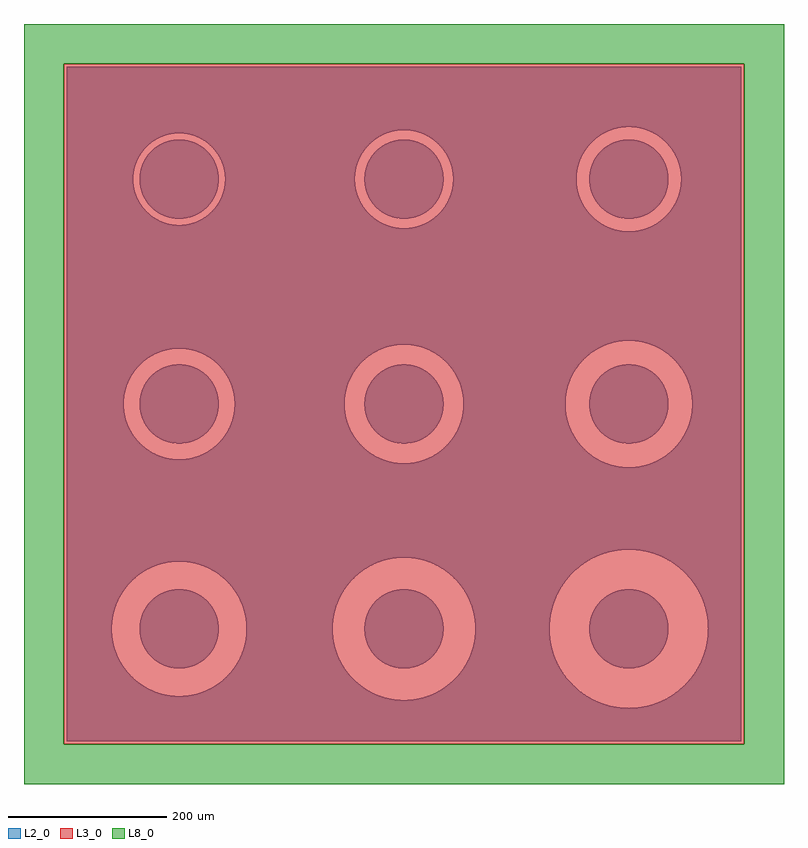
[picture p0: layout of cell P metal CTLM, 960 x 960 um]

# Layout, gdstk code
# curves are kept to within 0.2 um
import gdstk
lib = gdstk.Library(unit=1e-6, precision=1e-09)
def R(c, l, rs):  # rectangles x0, y0, x1, y1
    for r in rs: c.add(gdstk.rectangle(r[:2], r[2:], *l))
def P(c, l, *ps):  # polygons
    for p in ps: c.add(gdstk.Polygon(p, *l))
L2_0 = (2, 0)
L3_0 = (3, 0)
L8_0 = (8, 0)

frame = lib.new_cell('Frame')
P(frame, L2_0, [(0,0),(-84,-84),(-84,200),(200,200),(200,-84),(-84,-84),(0,0),(116,0),(116,116),(0,116)])

ctlm1 = lib.new_cell('CTLM1')
P(ctlm1, L2_0, [(0,50),(4.929,49.756),(9.81,49.028),(14.595,47.823),(18.823,46.322),(23.297,44.241),(27.545,41.729),(31.524,38.81),(35.196,35.514),(38.526,31.871),(41.48,27.918),(44.03,23.693),(46.151,19.238),(47.823,14.595),(49.028,9.81),(49.756,4.929),(50,0),(49.756,-4.929),(49.028,-9.81),(47.823,-14.595),(46.322,-18.823),(44.241,-23.297),(41.729,-27.545),(38.81,-31.524),(35.514,-35.196),(31.871,-38.526),(27.918,-41.48),(23.693,-44.03),(19.238,-46.151),(14.595,-47.823),(9.81,-49.028),(4.929,-49.756),(0,-50),(-4.929,-49.756),(-9.81,-49.028),(-14.595,-47.823),(-18.823,-46.322),(-23.297,-44.241),(-27.545,-41.729),(-31.524,-38.81),(-35.196,-35.514),(-38.526,-31.871),(-41.48,-27.918),(-44.03,-23.693),(-46.151,-19.238),(-47.823,-14.595),(-49.028,-9.81),(-49.756,-4.929),(-50,0),(-49.756,4.929),(-49.028,9.81),(-47.823,14.595),(-46.322,18.823),(-44.241,23.297),(-41.729,27.545),(-38.81,31.524),(-35.514,35.196),(-31.871,38.526),(-27.918,41.48),(-23.693,44.03),(-19.238,46.151),(-14.595,47.823),(-9.81,49.028),(-4.929,49.756)],
  [(0,-142),(14.018,-141.306),(27.898,-139.232),(41.507,-135.798),(54.709,-131.038),(67.378,-124.997),(79.388,-117.735),(90.622,-109.323),(100.972,-99.843),(110.335,-89.388),(118.62,-78.06),(125.746,-65.969),(131.644,-53.234),(136.256,-39.978),(139.295,-27.585),(141.338,-13.7),(142,0.319),(141.275,14.335),(139.417,26.959),(136.075,40.59),(131.404,53.825),(125.448,66.533),(118.268,78.592),(109.932,89.883),(100.522,100.296),(90.13,109.73),(78.858,118.091),(66.815,125.299),(55.298,130.791),(42.117,135.61),(28.524,139.106),(14.653,141.242),(0.638,141.999),(-13.382,141.368),(-27.272,139.356),(-40.896,135.984),(-54.12,131.282),(-66.815,125.299),(-78.858,118.091),(-90.13,109.73),(-99.616,101.196),(-109.119,90.868),(-117.557,79.652),(-124.845,67.658),(-130.914,55.004),(-135.705,41.812),(-139.169,28.211),(-141.275,14.335),(-142,0.319),(-141.338,-13.7),(-139.295,-27.585),(-136.256,-39.978),(-131.644,-53.234),(-125.746,-65.969),(-118.62,-78.06),(-110.335,-89.388),(-100.972,-99.843),(-90.622,-109.323),(-79.388,-117.735),(-67.378,-124.997),(-54.709,-131.038),(-41.507,-135.798),(-27.898,-139.232),(-14.018,-141.306),(0,-142),(0,-58),(-6.244,-57.663),(-12.924,-56.542),(-18.936,-54.822),(-25.199,-52.24),(-31.118,-48.946),(-36.206,-45.311),(-40.874,-41.15),(-45.393,-36.104),(-49.016,-31.007),(-52.297,-25.081),(-54.693,-19.306),(-56.571,-12.797),(-57.62,-6.633),(-57.999,-0.391),(-57.649,6.374),(-56.628,12.543),(-54.427,20.041),(-51.239,27.176),(-47.121,33.817),(-42.148,39.844),(-36.409,45.148),(-30.01,49.633),(-23.543,53.007),(-16.204,55.69),(-8.571,57.363),(-0.782,57.995),(6.503,57.634),(14.192,56.237),(21.622,53.819),(28.661,50.424),(35.179,46.113),(41.058,40.966),(45.875,35.489),(49.967,29.45),(53.268,22.946),(55.727,16.079),(57.304,8.957),(57.975,1.694),(57.729,-5.596),(56.571,-12.797),(55.193,-17.824),(53.573,-22.226),(51.361,-26.945),(49.016,-31.007),(46.35,-34.867),(43.033,-38.887),(36.206,-45.311),(31.992,-48.379),(27.978,-50.806),(23.305,-53.112),(18.936,-54.822),(9.858,-57.156),(5.206,-57.766),(0,-58)])
ctlm1.add(gdstk.Reference(frame, (-58,-58)))

frame_2956 = lib.new_cell('Frame_2956')
P(frame_2956, L2_0, [(0,0),(-80,-80),(-80,204),(204,204),(204,-80),(-80,-80),(0,0),(124,0),(124,124),(0,124)])

ctlm2 = lib.new_cell('CTLM2')
P(ctlm2, L2_0, [(0,50),(4.929,49.756),(9.81,49.028),(14.595,47.823),(18.823,46.322),(23.297,44.241),(27.545,41.729),(31.524,38.81),(35.196,35.514),(38.526,31.871),(41.48,27.918),(44.03,23.693),(46.151,19.238),(47.823,14.595),(49.028,9.81),(49.756,4.929),(50,0),(49.756,-4.929),(49.028,-9.81),(47.823,-14.595),(46.322,-18.823),(44.241,-23.297),(41.729,-27.545),(38.81,-31.524),(35.514,-35.196),(31.871,-38.526),(27.918,-41.48),(23.693,-44.03),(19.238,-46.151),(14.595,-47.823),(9.81,-49.028),(4.929,-49.756),(0,-50),(-4.929,-49.756),(-9.81,-49.028),(-14.595,-47.823),(-18.823,-46.322),(-23.297,-44.241),(-27.545,-41.729),(-31.524,-38.81),(-35.196,-35.514),(-38.526,-31.871),(-41.48,-27.918),(-44.03,-23.693),(-46.151,-19.238),(-47.823,-14.595),(-49.028,-9.81),(-49.756,-4.929),(-50,0),(-49.756,4.929),(-49.028,9.81),(-47.823,14.595),(-46.322,18.823),(-44.241,23.297),(-41.729,27.545),(-38.81,31.524),(-35.514,35.196),(-31.871,38.526),(-27.918,41.48),(-23.693,44.03),(-19.238,46.151),(-14.595,47.823),(-9.81,49.028),(-4.929,49.756)],
  [(0,-142),(14.018,-141.306),(27.898,-139.232),(41.507,-135.798),(54.709,-131.038),(67.378,-124.997),(79.388,-117.735),(90.622,-109.323),(100.972,-99.843),(110.335,-89.388),(118.62,-78.06),(125.746,-65.969),(131.644,-53.234),(136.256,-39.978),(139.295,-27.585),(141.338,-13.7),(142,0.319),(141.275,14.335),(139.417,26.959),(136.075,40.59),(131.404,53.825),(125.448,66.533),(118.268,78.592),(109.932,89.883),(100.522,100.296),(90.13,109.73),(78.858,118.091),(66.815,125.299),(55.298,130.791),(42.117,135.61),(28.524,139.106),(14.653,141.242),(0.638,141.999),(-13.382,141.368),(-27.272,139.356),(-40.896,135.984),(-54.12,131.282),(-66.815,125.299),(-78.858,118.091),(-90.13,109.73),(-99.616,101.196),(-109.119,90.868),(-117.557,79.652),(-124.845,67.658),(-130.914,55.004),(-135.705,41.812),(-139.169,28.211),(-141.275,14.335),(-142,0.319),(-141.338,-13.7),(-139.295,-27.585),(-136.256,-39.978),(-131.644,-53.234),(-125.746,-65.969),(-118.62,-78.06),(-110.335,-89.388),(-100.972,-99.843),(-90.622,-109.323),(-79.388,-117.735),(-67.378,-124.997),(-54.709,-131.038),(-41.507,-135.798),(-27.898,-139.232),(-14.018,-141.306),(0,-142),(0,-62),(-6.675,-61.64),(-13.816,-60.441),(-20.768,-58.418),(-26.937,-55.843),(-33.264,-52.321),(-38.703,-48.436),(-43.693,-43.988),(-48.523,-38.594),(-52.692,-32.674),(-56.142,-26.308),(-58.648,-20.111),(-60.593,-13.136),(-61.655,-6.536),(-61.996,0.697),(-61.561,7.367),(-60.282,14.494),(-57.787,22.466),(-54.51,29.541),(-50.044,36.6),(-44.67,42.995),(-38.485,48.61),(-32.08,53.056),(-24.656,56.886),(-16.786,59.684),(-8.61,61.399),(-0.836,61.994),(7.505,61.544),(15.71,59.977),(23.63,57.32),(31.121,53.624),(37.605,49.294),(43.89,43.791),(49.039,37.936),(53.413,31.481),(56.942,24.529),(59.57,17.188),(61.256,9.575),(61.974,1.811),(61.655,-6.536),(60.347,-14.223),(59,-19.053),(57.051,-24.272),(54.642,-29.296),(52.096,-33.616),(49.209,-37.716),(45.625,-41.981),(42.083,-45.53),(38.266,-48.782),(34.199,-51.715),(29.908,-54.31),(25.421,-56.549),(20.242,-58.602),(15.44,-60.047),(10.537,-61.098),(5.566,-61.75),(0,-62)])
ctlm2.add(gdstk.Reference(frame_2956, (-62,-62)))

frame_2958 = lib.new_cell('Frame_2958')
P(frame_2958, L2_0, [(0,0),(-76,-76),(-76,208),(208,208),(208,-76),(-76,-76),(0,0),(132,0),(132,132),(0,132)])

ctlm3 = lib.new_cell('CTLM3')
P(ctlm3, L2_0, [(0,50),(4.929,49.756),(9.81,49.028),(14.595,47.823),(18.823,46.322),(23.297,44.241),(27.545,41.729),(31.524,38.81),(35.196,35.514),(38.526,31.871),(41.48,27.918),(44.03,23.693),(46.151,19.238),(47.823,14.595),(49.028,9.81),(49.756,4.929),(50,0),(49.756,-4.929),(49.028,-9.81),(47.823,-14.595),(46.322,-18.823),(44.241,-23.297),(41.729,-27.545),(38.81,-31.524),(35.514,-35.196),(31.871,-38.526),(27.918,-41.48),(23.693,-44.03),(19.238,-46.151),(14.595,-47.823),(9.81,-49.028),(4.929,-49.756),(0,-50),(-4.929,-49.756),(-9.81,-49.028),(-14.595,-47.823),(-18.823,-46.322),(-23.297,-44.241),(-27.545,-41.729),(-31.524,-38.81),(-35.196,-35.514),(-38.526,-31.871),(-41.48,-27.918),(-44.03,-23.693),(-46.151,-19.238),(-47.823,-14.595),(-49.028,-9.81),(-49.756,-4.929),(-50,0),(-49.756,4.929),(-49.028,9.81),(-47.823,14.595),(-46.322,18.823),(-44.241,23.297),(-41.729,27.545),(-38.81,31.524),(-35.514,35.196),(-31.871,38.526),(-27.918,41.48),(-23.693,44.03),(-19.238,46.151),(-14.595,47.823),(-9.81,49.028),(-4.929,49.756)],
  [(0,-142),(14.018,-141.306),(27.898,-139.232),(41.507,-135.798),(54.709,-131.038),(67.378,-124.997),(79.388,-117.735),(90.622,-109.323),(100.972,-99.843),(110.335,-89.388),(118.62,-78.06),(125.746,-65.969),(131.644,-53.234),(136.256,-39.978),(139.295,-27.585),(141.338,-13.7),(142,0.319),(141.275,14.335),(139.417,26.959),(136.075,40.59),(131.404,53.825),(125.448,66.533),(118.268,78.592),(109.932,89.883),(100.522,100.296),(90.13,109.73),(78.858,118.091),(66.815,125.299),(55.298,130.791),(42.117,135.61),(28.524,139.106),(14.653,141.242),(0.638,141.999),(-13.382,141.368),(-27.272,139.356),(-40.896,135.984),(-54.12,131.282),(-66.815,125.299),(-78.858,118.091),(-90.13,109.73),(-99.616,101.196),(-109.119,90.868),(-117.557,79.652),(-124.845,67.658),(-130.914,55.004),(-135.705,41.812),(-139.169,28.211),(-141.275,14.335),(-142,0.319),(-141.338,-13.7),(-139.295,-27.585),(-136.256,-39.978),(-131.644,-53.234),(-125.746,-65.969),(-118.62,-78.06),(-110.335,-89.388),(-100.972,-99.843),(-90.622,-109.323),(-79.388,-117.735),(-67.378,-124.997),(-54.709,-131.038),(-41.507,-135.798),(-27.898,-139.232),(-14.018,-141.306),(0,-142),(0,-66),(-7.695,-65.55),(-14.707,-64.341),(-22.108,-62.187),(-28.675,-59.446),(-35.41,-55.697),(-41.662,-51.189),(-47.346,-45.982),(-52.021,-40.618),(-56.402,-34.276),(-59.764,-28.005),(-62.432,-21.408),(-64.502,-13.983),(-65.692,-6.368),(-65.987,1.335),(-65.381,9.019),(-64.03,16.005),(-61.515,23.915),(-57.742,31.967),(-52.92,39.439),(-47.139,46.195),(-40.968,51.746),(-33.64,56.783),(-25.702,60.79),(-17.869,63.535),(-9.753,65.275),(-0.89,65.994),(7.989,65.515),(16.724,63.846),(25.154,61.019),(32.614,57.379),(40.031,52.474),(46.721,46.617),(52.203,40.384),(57.158,33),(60.848,25.565),(63.575,17.726),(65.297,9.606),(65.987,1.335),(65.567,-7.548),(64.101,-15.717),(62.621,-20.846),(60.732,-25.838),(58.445,-30.662),(55.457,-35.784),(52.384,-40.149),(48.968,-44.251),(44.798,-48.468),(40.735,-51.929),(35.909,-55.376),(31.316,-58.097),(26.519,-60.438),(21.548,-62.383),(16.437,-63.921),(11.217,-65.04),(5.925,-65.734),(0,-66)])
ctlm3.add(gdstk.Reference(frame_2958, (-66,-66)))

frame_2960 = lib.new_cell('Frame_2960')
P(frame_2960, L2_0, [(0,0),(-72,-72),(-72,212),(212,212),(212,-72),(-72,-72),(0,0),(140,0),(140,140),(0,140)])

ctlm1_2959 = lib.new_cell('CTLM1_2959')
P(ctlm1_2959, L2_0, [(0,50),(4.929,49.756),(9.81,49.028),(14.595,47.823),(18.823,46.322),(23.297,44.241),(27.545,41.729),(31.524,38.81),(35.196,35.514),(38.526,31.871),(41.48,27.918),(44.03,23.693),(46.151,19.238),(47.823,14.595),(49.028,9.81),(49.756,4.929),(50,0),(49.756,-4.929),(49.028,-9.81),(47.823,-14.595),(46.322,-18.823),(44.241,-23.297),(41.729,-27.545),(38.81,-31.524),(35.514,-35.196),(31.871,-38.526),(27.918,-41.48),(23.693,-44.03),(19.238,-46.151),(14.595,-47.823),(9.81,-49.028),(4.929,-49.756),(0,-50),(-4.929,-49.756),(-9.81,-49.028),(-14.595,-47.823),(-18.823,-46.322),(-23.297,-44.241),(-27.545,-41.729),(-31.524,-38.81),(-35.196,-35.514),(-38.526,-31.871),(-41.48,-27.918),(-44.03,-23.693),(-46.151,-19.238),(-47.823,-14.595),(-49.028,-9.81),(-49.756,-4.929),(-50,0),(-49.756,4.929),(-49.028,9.81),(-47.823,14.595),(-46.322,18.823),(-44.241,23.297),(-41.729,27.545),(-38.81,31.524),(-35.514,35.196),(-31.871,38.526),(-27.918,41.48),(-23.693,44.03),(-19.238,46.151),(-14.595,47.823),(-9.81,49.028),(-4.929,49.756)],
  [(0,-142),(14.018,-141.306),(27.898,-139.232),(41.507,-135.798),(54.709,-131.038),(67.378,-124.997),(79.388,-117.735),(90.622,-109.323),(100.972,-99.843),(110.335,-89.388),(118.62,-78.06),(125.746,-65.969),(131.644,-53.234),(136.256,-39.978),(139.295,-27.585),(141.338,-13.7),(142,0.319),(141.275,14.335),(139.417,26.959),(136.075,40.59),(131.404,53.825),(125.448,66.533),(118.268,78.592),(109.932,89.883),(100.522,100.296),(90.13,109.73),(78.858,118.091),(66.815,125.299),(55.298,130.791),(42.117,135.61),(28.524,139.106),(14.653,141.242),(0.638,141.999),(-13.382,141.368),(-27.272,139.356),(-40.896,135.984),(-54.12,131.282),(-66.815,125.299),(-78.858,118.091),(-90.13,109.73),(-99.616,101.196),(-109.119,90.868),(-117.557,79.652),(-124.845,67.658),(-130.914,55.004),(-135.705,41.812),(-139.169,28.211),(-141.275,14.335),(-142,0.319),(-141.338,-13.7),(-139.295,-27.585),(-136.256,-39.978),(-131.644,-53.234),(-125.746,-65.969),(-118.62,-78.06),(-110.335,-89.388),(-100.972,-99.843),(-90.622,-109.323),(-79.388,-117.735),(-67.378,-124.997),(-54.709,-131.038),(-41.507,-135.798),(-27.898,-139.232),(-14.018,-141.306),(0,-142),(0,-70),(-8.161,-69.523),(-16.211,-68.097),(-24.04,-65.743),(-30.978,-62.772),(-37.556,-59.073),(-44.187,-54.291),(-49.775,-49.219),(-55.174,-43.08),(-59.491,-36.89),(-63.386,-29.702),(-66.417,-22.109),(-68.541,-14.215),(-69.731,-6.127),(-69.986,1.416),(-69.343,9.566),(-67.755,17.585),(-65.012,25.95),(-60.934,34.454),(-55.749,42.332),(-49.553,49.442),(-42.956,55.27),(-35.136,60.543),(-26.679,64.717),(-18.345,67.553),(-9.721,69.322),(-0.315,69.999),(8.474,69.485),(17.737,67.716),(26.679,64.717),(35.136,60.543),(42.956,55.27),(49.553,49.442),(55.367,42.831),(60.622,35),(64.535,27.114),(67.428,18.8),(69.255,10.188),(69.996,0.787),(69.541,-8.005),(67.834,-17.28),(66.008,-23.3),(63.91,-28.558),(61.393,-33.629),(58.475,-38.48),(55.174,-43.08),(51.512,-47.398),(47.513,-51.405),(43.204,-55.077),(38.612,-58.388),(33.767,-61.317),(28.126,-64.101),(22.854,-66.164),(17.433,-67.795),(11.897,-68.982),(5.657,-69.771),(0,-70)])
ctlm1_2959.add(gdstk.Reference(frame_2960, (-70,-70)))

frame_2962 = lib.new_cell('Frame_2962')
P(frame_2962, L2_0, [(0,0),(-67,-67),(-67,217),(217,217),(217,-67),(-67,-67),(0,0),(150,0),(150,150),(0,150)])

ctlm2_2961 = lib.new_cell('CTLM2_2961')
P(ctlm2_2961, L2_0, [(0,50),(4.929,49.756),(9.81,49.028),(14.595,47.823),(18.823,46.322),(23.297,44.241),(27.545,41.729),(31.524,38.81),(35.196,35.514),(38.526,31.871),(41.48,27.918),(44.03,23.693),(46.151,19.238),(47.823,14.595),(49.028,9.81),(49.756,4.929),(50,0),(49.756,-4.929),(49.028,-9.81),(47.823,-14.595),(46.322,-18.823),(44.241,-23.297),(41.729,-27.545),(38.81,-31.524),(35.514,-35.196),(31.871,-38.526),(27.918,-41.48),(23.693,-44.03),(19.238,-46.151),(14.595,-47.823),(9.81,-49.028),(4.929,-49.756),(0,-50),(-4.929,-49.756),(-9.81,-49.028),(-14.595,-47.823),(-18.823,-46.322),(-23.297,-44.241),(-27.545,-41.729),(-31.524,-38.81),(-35.196,-35.514),(-38.526,-31.871),(-41.48,-27.918),(-44.03,-23.693),(-46.151,-19.238),(-47.823,-14.595),(-49.028,-9.81),(-49.756,-4.929),(-50,0),(-49.756,4.929),(-49.028,9.81),(-47.823,14.595),(-46.322,18.823),(-44.241,23.297),(-41.729,27.545),(-38.81,31.524),(-35.514,35.196),(-31.871,38.526),(-27.918,41.48),(-23.693,44.03),(-19.238,46.151),(-14.595,47.823),(-9.81,49.028),(-4.929,49.756)],
  [(0,-142),(14.018,-141.306),(27.898,-139.232),(41.507,-135.798),(54.709,-131.038),(67.378,-124.997),(79.388,-117.735),(90.622,-109.323),(100.972,-99.843),(110.335,-89.388),(118.62,-78.06),(125.746,-65.969),(131.644,-53.234),(136.256,-39.978),(139.295,-27.585),(141.338,-13.7),(142,0.319),(141.275,14.335),(139.417,26.959),(136.075,40.59),(131.404,53.825),(125.448,66.533),(118.268,78.592),(109.932,89.883),(100.522,100.296),(90.13,109.73),(78.858,118.091),(66.815,125.299),(55.298,130.791),(42.117,135.61),(28.524,139.106),(14.653,141.242),(0.638,141.999),(-13.382,141.368),(-27.272,139.356),(-40.896,135.984),(-54.12,131.282),(-66.815,125.299),(-78.858,118.091),(-90.13,109.73),(-99.616,101.196),(-109.119,90.868),(-117.557,79.652),(-124.845,67.658),(-130.914,55.004),(-135.705,41.812),(-139.169,28.211),(-141.275,14.335),(-142,0.319),(-141.338,-13.7),(-139.295,-27.585),(-136.256,-39.978),(-131.644,-53.234),(-125.746,-65.969),(-118.62,-78.06),(-110.335,-89.388),(-100.972,-99.843),(-90.622,-109.323),(-79.388,-117.735),(-67.378,-124.997),(-54.709,-131.038),(-41.507,-135.798),(-27.898,-139.232),(-14.018,-141.306),(0,-142),(0,-75),(-8.744,-74.489),(-17.369,-72.961),(-25.123,-70.667),(-33.191,-67.256),(-40.806,-62.928),(-47.343,-58.169),(-53.802,-52.253),(-59.527,-45.624),(-64.44,-38.372),(-68.475,-30.598),(-71.371,-23.048),(-73.571,-14.57),(-74.712,-6.565),(-74.968,2.191),(-74.201,10.916),(-72.423,19.493),(-69.145,29.051),(-64.952,37.5),(-59.732,45.356),(-53.093,52.973),(-45.49,59.63),(-37.646,64.867),(-29.207,69.08),(-19.656,72.379),(-9.748,74.364),(-0.337,74.999),(9.748,74.364),(19.656,72.379),(29.207,69.08),(37.646,64.867),(45.49,59.63),(53.093,52.973),(59.732,45.356),(64.952,37.5),(69.145,29.051),(72.423,19.493),(74.386,9.581),(75,0.169),(74.342,-9.915),(72.334,-19.818),(70.496,-25.599),(67.914,-31.824),(65.12,-37.208),(61.9,-42.348),(58.275,-47.212),(54.269,-51.767),(49.909,-55.983),(45.221,-59.833),(40.238,-63.292),(34.992,-66.337),(29.517,-68.948),(23.848,-71.107),(18.024,-72.802),(12.082,-74.02),(6.061,-74.755),(0,-75)])
ctlm2_2961.add(gdstk.Reference(frame_2962, (-75,-75)))

frame_2964 = lib.new_cell('Frame_2964')
P(frame_2964, L2_0, [(0,0),(-62,-62),(-62,222),(222,222),(222,-62),(-62,-62),(0,0),(160,0),(160,160),(0,160)])

ctlm3_2963 = lib.new_cell('CTLM3_2963')
P(ctlm3_2963, L2_0, [(0,50),(4.929,49.756),(9.81,49.028),(14.595,47.823),(18.823,46.322),(23.297,44.241),(27.545,41.729),(31.524,38.81),(35.196,35.514),(38.526,31.871),(41.48,27.918),(44.03,23.693),(46.151,19.238),(47.823,14.595),(49.028,9.81),(49.756,4.929),(50,0),(49.756,-4.929),(49.028,-9.81),(47.823,-14.595),(46.322,-18.823),(44.241,-23.297),(41.729,-27.545),(38.81,-31.524),(35.514,-35.196),(31.871,-38.526),(27.918,-41.48),(23.693,-44.03),(19.238,-46.151),(14.595,-47.823),(9.81,-49.028),(4.929,-49.756),(0,-50),(-4.929,-49.756),(-9.81,-49.028),(-14.595,-47.823),(-18.823,-46.322),(-23.297,-44.241),(-27.545,-41.729),(-31.524,-38.81),(-35.196,-35.514),(-38.526,-31.871),(-41.48,-27.918),(-44.03,-23.693),(-46.151,-19.238),(-47.823,-14.595),(-49.028,-9.81),(-49.756,-4.929),(-50,0),(-49.756,4.929),(-49.028,9.81),(-47.823,14.595),(-46.322,18.823),(-44.241,23.297),(-41.729,27.545),(-38.81,31.524),(-35.514,35.196),(-31.871,38.526),(-27.918,41.48),(-23.693,44.03),(-19.238,46.151),(-14.595,47.823),(-9.81,49.028),(-4.929,49.756)],
  [(0,-142),(14.018,-141.306),(27.898,-139.232),(41.507,-135.798),(54.709,-131.038),(67.378,-124.997),(79.388,-117.735),(90.622,-109.323),(100.972,-99.843),(110.335,-89.388),(118.62,-78.06),(125.746,-65.969),(131.644,-53.234),(136.256,-39.978),(139.295,-27.585),(141.338,-13.7),(142,0.319),(141.275,14.335),(139.417,26.959),(136.075,40.59),(131.404,53.825),(125.448,66.533),(118.268,78.592),(109.932,89.883),(100.522,100.296),(90.13,109.73),(78.858,118.091),(66.815,125.299),(55.298,130.791),(42.117,135.61),(28.524,139.106),(14.653,141.242),(0.638,141.999),(-13.382,141.368),(-27.272,139.356),(-40.896,135.984),(-54.12,131.282),(-66.815,125.299),(-78.858,118.091),(-90.13,109.73),(-99.616,101.196),(-109.119,90.868),(-117.557,79.652),(-124.845,67.658),(-130.914,55.004),(-135.705,41.812),(-139.169,28.211),(-141.275,14.335),(-142,0.319),(-141.338,-13.7),(-139.295,-27.585),(-136.256,-39.978),(-131.644,-53.234),(-125.746,-65.969),(-118.62,-78.06),(-110.335,-89.388),(-100.972,-99.843),(-90.622,-109.323),(-79.388,-117.735),(-67.378,-124.997),(-54.709,-131.038),(-41.507,-135.798),(-27.898,-139.232),(-14.018,-141.306),(0,-142),(0,-80),(-9.327,-79.454),(-18.527,-77.825),(-27.474,-75.134),(-36.047,-71.419),(-43.526,-67.123),(-51.055,-61.591),(-57.887,-55.218),(-63.93,-48.093),(-69.102,-40.311),(-73.33,-31.98),(-76.558,-23.212),(-78.743,-14.128),(-79.853,-4.851),(-79.874,4.492),(-78.926,13.065),(-76.864,22.178),(-73.186,32.309),(-68.552,41.239),(-62.834,49.517),(-55.607,57.514),(-47.371,64.467),(-38.905,69.903),(-29.156,74.498),(-19.575,77.568),(-8.97,79.496),(1.079,79.993),(11.11,79.225),(20.966,77.204),(31.154,73.685),(40.156,69.192),(48.522,63.605),(56.632,56.505),(63.714,48.379),(69.639,39.376),(74.3,29.657),(77.435,20.097),(79.433,9.506),(79.99,-1.258),(79.2,-11.288),(76.963,-21.832),(74.947,-27.98),(72.441,-33.945),(69.461,-39.688),(66.027,-45.172),(62.16,-50.36),(57.887,-55.218),(53.236,-59.716),(48.236,-63.822),(42.921,-67.512),(37.325,-70.759),(31.485,-73.544),(25.438,-75.848),(19.226,-77.655),(12.887,-78.955),(6.465,-79.738),(0,-80)])
ctlm3_2963.add(gdstk.Reference(frame_2964, (-80,-80)))

frame_2966 = lib.new_cell('Frame_2966')
P(frame_2966, L2_0, [(0,0),(-57,-57),(-57,227),(227,227),(227,-57),(-57,-57),(0,0),(170,0),(170,170),(0,170)])

ctlm1_2965 = lib.new_cell('CTLM1_2965')
P(ctlm1_2965, L2_0, [(0,50),(4.929,49.756),(9.81,49.028),(14.595,47.823),(18.823,46.322),(23.297,44.241),(27.545,41.729),(31.524,38.81),(35.196,35.514),(38.526,31.871),(41.48,27.918),(44.03,23.693),(46.151,19.238),(47.823,14.595),(49.028,9.81),(49.756,4.929),(50,0),(49.756,-4.929),(49.028,-9.81),(47.823,-14.595),(46.322,-18.823),(44.241,-23.297),(41.729,-27.545),(38.81,-31.524),(35.514,-35.196),(31.871,-38.526),(27.918,-41.48),(23.693,-44.03),(19.238,-46.151),(14.595,-47.823),(9.81,-49.028),(4.929,-49.756),(0,-50),(-4.929,-49.756),(-9.81,-49.028),(-14.595,-47.823),(-18.823,-46.322),(-23.297,-44.241),(-27.545,-41.729),(-31.524,-38.81),(-35.196,-35.514),(-38.526,-31.871),(-41.48,-27.918),(-44.03,-23.693),(-46.151,-19.238),(-47.823,-14.595),(-49.028,-9.81),(-49.756,-4.929),(-50,0),(-49.756,4.929),(-49.028,9.81),(-47.823,14.595),(-46.322,18.823),(-44.241,23.297),(-41.729,27.545),(-38.81,31.524),(-35.514,35.196),(-31.871,38.526),(-27.918,41.48),(-23.693,44.03),(-19.238,46.151),(-14.595,47.823),(-9.81,49.028),(-4.929,49.756)],
  [(0,-142),(14.018,-141.306),(27.898,-139.232),(41.507,-135.798),(54.709,-131.038),(67.378,-124.997),(79.388,-117.735),(90.622,-109.323),(100.972,-99.843),(110.335,-89.388),(118.62,-78.06),(125.746,-65.969),(131.644,-53.234),(136.256,-39.978),(139.295,-27.585),(141.338,-13.7),(142,0.319),(141.275,14.335),(139.417,26.959),(136.075,40.59),(131.404,53.825),(125.448,66.533),(118.268,78.592),(109.932,89.883),(100.522,100.296),(90.13,109.73),(78.858,118.091),(66.815,125.299),(55.298,130.791),(42.117,135.61),(28.524,139.106),(14.653,141.242),(0.638,141.999),(-13.382,141.368),(-27.272,139.356),(-40.896,135.984),(-54.12,131.282),(-66.815,125.299),(-78.858,118.091),(-90.13,109.73),(-99.616,101.196),(-109.119,90.868),(-117.557,79.652),(-124.845,67.658),(-130.914,55.004),(-135.705,41.812),(-139.169,28.211),(-141.275,14.335),(-142,0.319),(-141.338,-13.7),(-139.295,-27.585),(-136.256,-39.978),(-131.644,-53.234),(-125.746,-65.969),(-118.62,-78.06),(-110.335,-89.388),(-100.972,-99.843),(-90.622,-109.323),(-79.388,-117.735),(-67.378,-124.997),(-54.709,-131.038),(-41.507,-135.798),(-27.898,-139.232),(-14.018,-141.306),(0,-142),(0,-85),(-9.91,-84.42),(-19.685,-82.689),(-29.191,-79.83),(-38.3,-75.882),(-46.885,-70.9),(-54.832,-64.95),(-62.03,-58.114),(-68.383,-50.486),(-73.802,-42.169),(-78.216,-33.277),(-81.562,-23.931),(-83.796,-14.258),(-84.886,-4.391),(-84.82,5.535),(-83.731,14.635),(-81.453,24.297),(-77.76,34.328),(-72.439,44.469),(-66.285,53.21),(-58.531,61.637),(-50.332,68.496),(-41.337,74.272),(-30.978,79.154),(-20.798,82.416),(-9.531,84.464),(1.146,84.992),(12.561,84.067),(23.013,81.826),(33.101,78.29),(43.324,73.13),(52.16,67.114),(60.172,60.037),(67.696,51.403),(73.991,41.837),(78.944,31.511),(82.463,20.613),(84.485,9.341),(84.974,-2.101),(84.038,-12.75),(81.562,-23.931),(79.361,-30.443),(76.641,-36.757),(73.42,-42.83),(69.719,-48.624),(65.562,-54.099),(60.976,-59.22),(55.991,-63.954),(51.251,-67.811),(45.603,-71.731),(39.658,-75.182),(33.452,-78.141),(27.028,-80.588),(20.427,-82.509),(13.693,-83.89),(6.869,-84.722),(0,-85)])
ctlm1_2965.add(gdstk.Reference(frame_2966, (-85,-85)))

frame_2968 = lib.new_cell('Frame_2968')
P(frame_2968, L2_0, [(0,0),(-52,-52),(-52,232),(232,232),(232,-52),(-52,-52),(0,0),(180,0),(180,180),(0,180)])

ctlm2_2967 = lib.new_cell('CTLM2_2967')
P(ctlm2_2967, L2_0, [(0,50),(4.929,49.756),(9.81,49.028),(14.595,47.823),(18.823,46.322),(23.297,44.241),(27.545,41.729),(31.524,38.81),(35.196,35.514),(38.526,31.871),(41.48,27.918),(44.03,23.693),(46.151,19.238),(47.823,14.595),(49.028,9.81),(49.756,4.929),(50,0),(49.756,-4.929),(49.028,-9.81),(47.823,-14.595),(46.322,-18.823),(44.241,-23.297),(41.729,-27.545),(38.81,-31.524),(35.514,-35.196),(31.871,-38.526),(27.918,-41.48),(23.693,-44.03),(19.238,-46.151),(14.595,-47.823),(9.81,-49.028),(4.929,-49.756),(0,-50),(-4.929,-49.756),(-9.81,-49.028),(-14.595,-47.823),(-18.823,-46.322),(-23.297,-44.241),(-27.545,-41.729),(-31.524,-38.81),(-35.196,-35.514),(-38.526,-31.871),(-41.48,-27.918),(-44.03,-23.693),(-46.151,-19.238),(-47.823,-14.595),(-49.028,-9.81),(-49.756,-4.929),(-50,0),(-49.756,4.929),(-49.028,9.81),(-47.823,14.595),(-46.322,18.823),(-44.241,23.297),(-41.729,27.545),(-38.81,31.524),(-35.514,35.196),(-31.871,38.526),(-27.918,41.48),(-23.693,44.03),(-19.238,46.151),(-14.595,47.823),(-9.81,49.028),(-4.929,49.756)],
  [(0,-142),(14.018,-141.306),(27.898,-139.232),(41.507,-135.798),(54.709,-131.038),(67.378,-124.997),(79.388,-117.735),(90.622,-109.323),(100.972,-99.843),(110.335,-89.388),(118.62,-78.06),(125.746,-65.969),(131.644,-53.234),(136.256,-39.978),(139.295,-27.585),(141.338,-13.7),(142,0.319),(141.275,14.335),(139.417,26.959),(136.075,40.59),(131.404,53.825),(125.448,66.533),(118.268,78.592),(109.932,89.883),(100.522,100.296),(90.13,109.73),(78.858,118.091),(66.815,125.299),(55.298,130.791),(42.117,135.61),(28.524,139.106),(14.653,141.242),(0.638,141.999),(-13.382,141.368),(-27.272,139.356),(-40.896,135.984),(-54.12,131.282),(-66.815,125.299),(-78.858,118.091),(-90.13,109.73),(-99.616,101.196),(-109.119,90.868),(-117.557,79.652),(-124.845,67.658),(-130.914,55.004),(-135.705,41.812),(-139.169,28.211),(-141.275,14.335),(-142,0.319),(-141.338,-13.7),(-139.295,-27.585),(-136.256,-39.978),(-131.644,-53.234),(-125.746,-65.969),(-118.62,-78.06),(-110.335,-89.388),(-100.972,-99.843),(-90.622,-109.323),(-79.388,-117.735),(-67.378,-124.997),(-54.709,-131.038),(-41.507,-135.798),(-27.898,-139.232),(-14.018,-141.306),(0,-142),(0,-90),(-6.466,-89.767),(-12.899,-89.071),(-19.266,-87.914),(-24.756,-86.528),(-30.147,-84.801),(-36.162,-82.415),(-41.99,-79.604),(-46.913,-76.806),(-52.31,-73.237),(-56.812,-69.803),(-61.68,-65.541),(-66.23,-60.94),(-70.437,-56.024),(-73.82,-51.484),(-77.328,-46.047),(-80.071,-41.093),(-83.436,-33.74),(-86.36,-25.338),(-88.439,-16.689),(-89.655,-7.878),(-89.994,1.011),(-89.455,9.89),(-88.042,18.672),(-86.01,26.5),(-82.004,37.086),(-76.701,47.085),(-70.184,56.34),(-65.955,61.237),(-61.974,65.263),(-53.293,72.525),(-48.627,75.733),(-43.06,79.031),(-38.005,81.582),(-32.045,84.102),(-21.236,87.459),(-10.091,89.432),(1.213,89.992),(7.676,89.672),(13.3,89.012),(24.366,86.639),(29.766,84.935),(35.792,82.577),(45.873,77.432),(55.229,71.062),(63.711,63.568),(68.114,58.826),(71.678,54.427),(75.403,49.136),(78.344,44.298),(80.974,39.284),(83.587,33.364),(85.52,28.042),(87.314,21.825),(88.656,15.496),(89.455,9.89),(89.9,4.246),(89.973,-2.225),(89.58,-8.683),(88.725,-15.097),(87.411,-21.433),(85.89,-26.887),(83.436,-33.74),(80.797,-39.647),(77.328,-46.047),(73.354,-52.145),(68.901,-57.903),(63.996,-63.281),(59.284,-67.716),(53.618,-72.285),(47.601,-76.381),(41.273,-79.978),(34.675,-83.052),(27.85,-85.583),(20.843,-87.553),(14.498,-88.825),(7.273,-89.706),(0,-90)])
ctlm2_2967.add(gdstk.Reference(frame_2968, (-90,-90)))

frame_2970 = lib.new_cell('Frame_2970')
P(frame_2970, L2_0, [(0,0),(-42,-42),(-42,242),(242,242),(242,-42),(-42,-42),(0,0),(200,0),(200,200),(0,200)])

ctlm3_2969 = lib.new_cell('CTLM3_2969')
P(ctlm3_2969, L2_0, [(0,50),(4.929,49.756),(9.81,49.028),(14.595,47.823),(18.823,46.322),(23.297,44.241),(27.545,41.729),(31.524,38.81),(35.196,35.514),(38.526,31.871),(41.48,27.918),(44.03,23.693),(46.151,19.238),(47.823,14.595),(49.028,9.81),(49.756,4.929),(50,0),(49.756,-4.929),(49.028,-9.81),(47.823,-14.595),(46.322,-18.823),(44.241,-23.297),(41.729,-27.545),(38.81,-31.524),(35.514,-35.196),(31.871,-38.526),(27.918,-41.48),(23.693,-44.03),(19.238,-46.151),(14.595,-47.823),(9.81,-49.028),(4.929,-49.756),(0,-50),(-4.929,-49.756),(-9.81,-49.028),(-14.595,-47.823),(-18.823,-46.322),(-23.297,-44.241),(-27.545,-41.729),(-31.524,-38.81),(-35.196,-35.514),(-38.526,-31.871),(-41.48,-27.918),(-44.03,-23.693),(-46.151,-19.238),(-47.823,-14.595),(-49.028,-9.81),(-49.756,-4.929),(-50,0),(-49.756,4.929),(-49.028,9.81),(-47.823,14.595),(-46.322,18.823),(-44.241,23.297),(-41.729,27.545),(-38.81,31.524),(-35.514,35.196),(-31.871,38.526),(-27.918,41.48),(-23.693,44.03),(-19.238,46.151),(-14.595,47.823),(-9.81,49.028),(-4.929,49.756)],
  [(0,-142),(14.018,-141.306),(27.898,-139.232),(41.507,-135.798),(54.709,-131.038),(67.378,-124.997),(79.388,-117.735),(90.622,-109.323),(100.972,-99.843),(110.335,-89.388),(118.62,-78.06),(125.746,-65.969),(131.644,-53.234),(136.256,-39.978),(139.295,-27.585),(141.338,-13.7),(142,0.319),(141.275,14.335),(139.417,26.959),(136.075,40.59),(131.404,53.825),(125.448,66.533),(118.268,78.592),(109.932,89.883),(100.522,100.296),(90.13,109.73),(78.858,118.091),(66.815,125.299),(55.298,130.791),(42.117,135.61),(28.524,139.106),(14.653,141.242),(0.638,141.999),(-13.382,141.368),(-27.272,139.356),(-40.896,135.984),(-54.12,131.282),(-66.815,125.299),(-78.858,118.091),(-90.13,109.73),(-99.616,101.196),(-109.119,90.868),(-117.557,79.652),(-124.845,67.658),(-130.914,55.004),(-135.705,41.812),(-139.169,28.211),(-141.275,14.335),(-142,0.319),(-141.338,-13.7),(-139.295,-27.585),(-136.256,-39.978),(-131.644,-53.234),(-125.746,-65.969),(-118.62,-78.06),(-110.335,-89.388),(-100.972,-99.843),(-90.622,-109.323),(-79.388,-117.735),(-67.378,-124.997),(-54.709,-131.038),(-41.507,-135.798),(-27.898,-139.232),(-14.018,-141.306),(0,-142),(0,-100),(-12.551,-99.209),(-18.765,-98.224),(-25.773,-96.622),(-31.798,-94.81),(-38.528,-92.28),(-44.254,-89.675),(-50.583,-86.263),(-55.907,-82.912),(-61.72,-78.681),(-66.545,-74.644),(-71.736,-69.67),(-75.975,-65.022),(-80.45,-59.395),(-84.026,-54.219),(-87.704,-48.041),(-92.018,-39.149),(-95.698,-29.015),(-98.266,-18.544),(-99.616,-8.753),(-99.98,2.022),(-99.292,11.882),(-97.634,21.626),(-95.022,31.158),(-90.36,42.838),(-84.269,53.84),(-80.716,59.033),(-76.266,64.68),(-67.545,73.74),(-62.073,78.403),(-57.02,82.151),(-46.258,88.658),(-34.765,93.763),(-22.721,97.385),(-16.553,98.621),(-9.424,99.555),(3.146,99.951),(15.666,98.765),(27.938,96.018),(39.768,91.752),(50.97,86.035),(61.365,78.958),(70.79,70.631),(75.682,65.362),(79.642,60.474),(83.287,55.347),(87.048,49.22),(90.36,42.838),(92.875,37.071),(95.298,30.303),(97.229,23.377),(98.657,16.331),(99.576,9.201),(99.98,2.022),(99.909,-4.268),(99.344,-11.436),(98.266,-18.544),(96.905,-24.686),(94.881,-31.585),(92.018,-39.149),(88.554,-46.457),(84.51,-53.461),(80.45,-59.395),(75.975,-65.022),(70.472,-70.949),(64.508,-76.412),(58.122,-81.375),(51.356,-85.805),(45.058,-89.273),(37.697,-92.623),(30.944,-95.092),(23.159,-97.281),(15.222,-98.835),(7.185,-99.742),(0,-100)])
ctlm3_2969.add(gdstk.Reference(frame_2970, (-100,-100)))

array_ctlms = lib.new_cell('Array_CTLMs')
array_ctlms.add(gdstk.Reference(ctlm1, (284,-284)))
array_ctlms.add(gdstk.Reference(ctlm2, (568,-284)))
array_ctlms.add(gdstk.Reference(ctlm3, (852,-284)))
array_ctlms.add(gdstk.Reference(ctlm1_2959, (284,-568)))
array_ctlms.add(gdstk.Reference(ctlm2_2961, (568,-568)))
array_ctlms.add(gdstk.Reference(ctlm3_2963, (852,-568)))
array_ctlms.add(gdstk.Reference(ctlm1_2965, (284,-852)))
array_ctlms.add(gdstk.Reference(ctlm2_2967, (568,-852)))
array_ctlms.add(gdstk.Reference(ctlm3_2969, (852,-852)))

frame_tile = lib.new_cell('Frame Tile')
P(frame_tile, L8_0, [(-430,-430),(-480,-480),(-480,480),(480,480),(480,-480),(-480,-480),(-430,-430),(430,-430),(430,430),(-430,430)])

p_metal_ctlm = lib.new_cell('P metal CTLM')
R(p_metal_ctlm, L3_0, [(138,-998,998,-138)])
p_metal_ctlm.add(gdstk.Reference(array_ctlms, (0,0)))
p_metal_ctlm.add(gdstk.Reference(frame_tile, (568,-568)))

lib.write_gds('P_metal_CTLM.gds')
